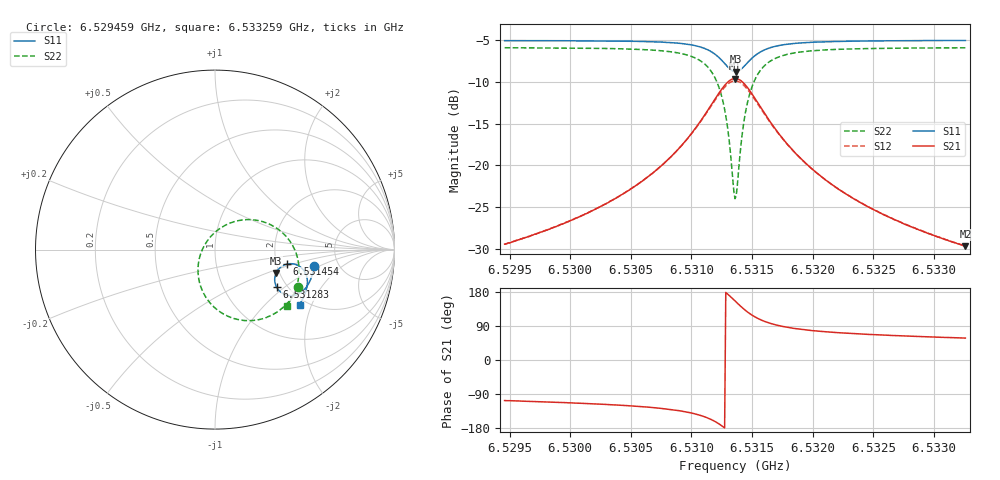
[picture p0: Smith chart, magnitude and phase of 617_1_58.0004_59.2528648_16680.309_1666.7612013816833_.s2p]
#  HZ  S  RI  R  50.00
! Rohde & Schwarz Vector Network Analyzer
! Rohde-Schwarz,ZNB20-2Port,1311601062101988,3.16
! Created: UTC 3/21/2024, 1:17:58 AM
! freq[Hz]  re:S11  im:S11  re:S21  im:S21  re:S12  im:S12  re:S22  im:S22
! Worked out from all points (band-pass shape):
!   401 points, 6.529459 GHz to 6.533259 GHz, reference 50 ohm
!   highest |S21| = -9.58 dB at 6.531359 GHz (marker M1); lowest = -29.7 dB at 6.533259 GHz (marker M2)
!   |S21| within 3 dB of the highest: 6.531171 GHz to 6.53155 GHz (379.5 kHz wide, 0.00581 % of centre)
!   lowest |S11| = -8.8 dB at 6.531369 GHz (marker M3), VSWR 2.15, Z = 95.9 - j28.8 ohm
!   |S11| at or under -10 dB: nowhere
!   |S22| runs from -24.0 to -5.9 dB; largest |S21 - S12| = 0.014
!   S11 on the Smith chart (normalised r, x): 6.529459 GHz: 3.30, -0.88; 6.531283 GHz: 1.76, -0.88; 6.531454 GHz: 2.27, -0.44; 6.533259 GHz: 1.83, -1.64
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6.5294594e9  0.5531 -0.0912  -0.00987 -0.0321  -0.0106 -0.0318  0.4634 -0.2089
6.5300959e9  0.5402 -0.1449  -0.0206 -0.0454  -0.0217 -0.045  0.4279 -0.2684
6.5304663e9  0.5264 -0.1803  -0.0351 -0.06  -0.0368 -0.0591  0.3897 -0.3126
6.5307323e9  0.5086 -0.2101  -0.0583 -0.077  -0.0604 -0.0753  0.3378 -0.3531
6.5309603e9  0.4772 -0.24  -0.1049 -0.097  -0.1077 -0.0931  0.2448 -0.3901
6.5311218e9  0.4277 -0.2564  -0.1818 -0.0991  -0.1835 -0.091  0.1052 -0.3839
6.5312168e9  0.3784 -0.2448  -0.2573 -0.0622  -0.2548 -0.0512  -0.0182 -0.3073
6.5312833e9  0.3432 -0.2091  -0.3073 0.0099  -0.2988 0.02  -0.0876 -0.1778
6.5313118e9  0.3344 -0.1851  -0.3167 0.0544  -0.306 0.0625  -0.0947 -0.1028
6.5313403e9  0.333 -0.1576  -0.3135 0.1031  -0.301 0.1082  -0.08 -0.0237
6.5313593e9  0.337 -0.1392  -0.3032 0.1354  -0.2905 0.138  -0.0572 0.0265
6.5313688e9  0.3405 -0.1303  -0.2956 0.1504  -0.2831 0.1521  -0.0421 0.0498
6.5313783e9  0.3449 -0.122  -0.2867 0.1646  -0.2743 0.1653  -0.025 0.0714
6.5314257e9  0.3767 -0.0905  -0.2267 0.2175  -0.2173 0.2142  0.0823 0.1471
6.5314542e9  0.3992 -0.0812  -0.1861 0.2326  -0.179 0.2284  0.1516 0.165
6.5315207e9  0.4463 -0.0819  -0.1044 0.2315  -0.101 0.2279  0.2878 0.1482
6.5316157e9  0.4867 -0.1061  -0.0359 0.1951  -0.034 0.1931  0.3981 0.0714
6.5317582e9  0.5095 -0.1447  0.00429 0.143  0.00565 0.1421  0.456 -0.0329
6.5319957e9  0.5145 -0.1893  0.0205 0.0927  0.0215 0.0923  0.4679 -0.1362
6.5322712e9  0.5084 -0.2242  0.0222 0.0637  0.0231 0.0635  0.4563 -0.2016
6.5326321e9  0.496 -0.2588  0.0205 0.0442  0.0214 0.0439  0.4357 -0.254
6.5332591e9  0.4708 -0.3068  0.0174 0.0277  0.018 0.0275  0.4005 -0.3119
